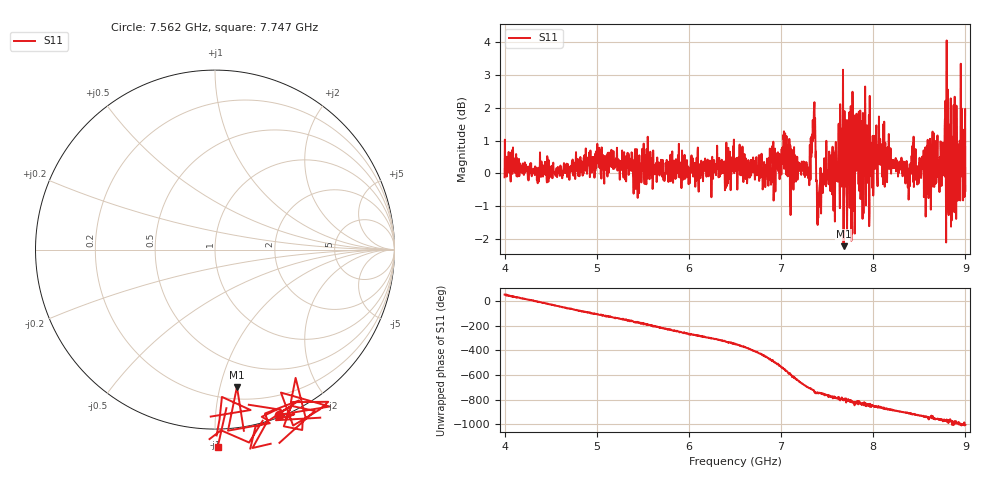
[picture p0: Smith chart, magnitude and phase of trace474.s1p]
! Created with skrf 1.8.0 (http://scikit-rf.org).
# Hz S RI R 50.0
!freq ReS11 ImS11
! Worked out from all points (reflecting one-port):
!   1601 points, 4 GHz to 9 GHz, reference 50 ohm
!   lowest |S11| = -2.2 dB at 7.678 GHz (marker M1), VSWR 7.86, Z = 14.8 - j56.4 ohm
!   phase of S11 starts at 52 deg and turns -1055 deg over the sweep
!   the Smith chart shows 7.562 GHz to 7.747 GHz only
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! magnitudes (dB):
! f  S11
! 4 GHz  -0.1
! 4.625 GHz  -0.2
! 5.25 GHz  -0.2
! 5.875 GHz  0.3
! 6.5 GHz  0.3
! 6.819 GHz  -0.2
! 7.034 GHz  0.1
! 7.125 GHz  0.1
! 7.294 GHz  -0.1
! 7.347 GHz  1.1
! 7.409 GHz  -1.0
! 7.647 GHz  0.7
! 7.678 GHz  -2.2
! 7.75 GHz  0.4
! 7.788 GHz  -0.9
! 7.834 GHz  0.4
! 7.875 GHz  0.3
! 7.928 GHz  1.1
! 7.981 GHz  0.1
! 8.05 GHz  0.8
! 8.375 GHz  -0.4
! 8.728 GHz  -0.3
! 8.788 GHz  -0.3
! 8.841 GHz  2.3
! 8.884 GHz  2.3
! 8.919 GHz  -0.7
! 8.972 GHz  0.5
! 9 GHz  -0.5
